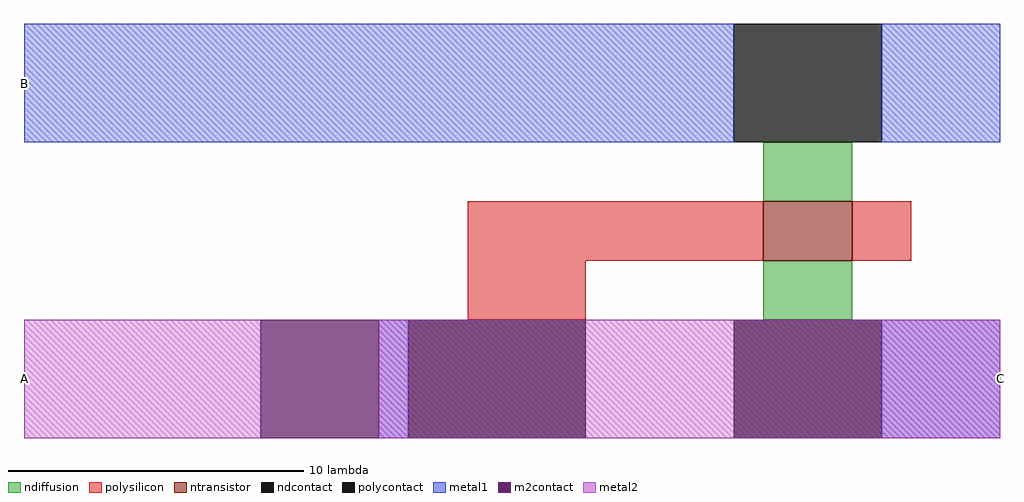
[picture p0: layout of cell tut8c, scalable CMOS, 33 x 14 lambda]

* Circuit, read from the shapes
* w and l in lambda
.subckt tut8c A B C
M1 B A C VSUBS nfet w=3 l=2
.ends

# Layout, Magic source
magic
tech scmos
<< polysilicon >>
rect -7 -2 3 0
rect 6 -2 8 0
rect -7 -4 -3 -2
<< ndiffusion >>
rect 3 0 6 2
rect 3 -4 6 -2
<< metal1 >>
rect -22 2 2 6
rect 7 2 11 6
rect -10 -8 -9 -4
rect 7 -8 11 -4
<< metal2 >>
rect -22 -8 -14 -4
rect -10 -8 11 -4
<< polycontact >>
rect -9 -8 -3 -4
<< ndcontact >>
rect 2 2 7 6
rect 2 -8 7 -4
<< m2contact >>
rect -14 -8 -10 -4
<< ntransistor >>
rect 3 -2 6 0
<< labels >>
rlabel metal2 -22 -8 -22 -4 3 A
rlabel metal1 -22 2 -22 6 3 B
rlabel metal1 11 -8 11 -4 7 C
<< end >>
